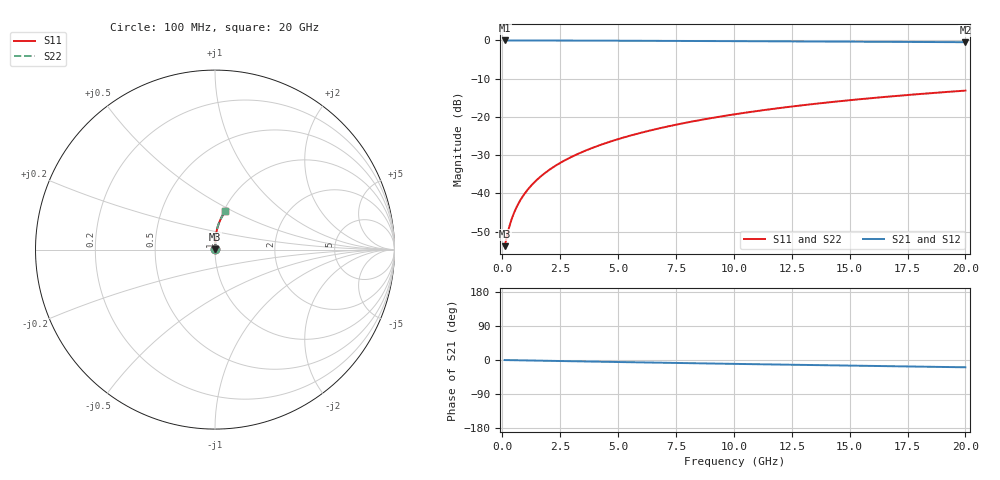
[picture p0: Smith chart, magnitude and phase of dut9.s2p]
! Touchstone file exported from HFSS 2024.1.0
!  File:  C:/UserFiles/LocalFiles/RDL_TSV_Batchsim/temp_RDL_bottom_9_1778691182.aedt
!  Generated:  12:55:55 AM May 14, 2026
!  Design:  RDL_bottom
!  Project:  temp_RDL_bottom_9_1778691182
!  Setup:  Setup1
!  Solution:  Sweep
! Variables:
!  dtsv = 10.80580581um
!  hbump = 3um
!  htsv = 98.51um
!  ldown = 216.98um
!  lrdl = 100um
!  p = 40
!  p1 = 54.42um
!  rhole = 1um
!  t = 450um
!  tdown = 2.45um
!  trdl = 3.915915916um
!  wdown = 22.36um
!  wrdl = 20um
# GHz S MA R 50.000000
! Terminal data exported
! Port[1] = RDL1_T1
! Port[2] = RDL1_T2
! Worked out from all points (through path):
!   200 points, 100 MHz to 20 GHz, reference 50 ohm
!   highest |S21| = -0.02 dB at 100 MHz (marker M1); lowest = -0.5 dB at 20 GHz (marker M2)
!   group delay of S21, straight-line fit = 2.65 ps
!   lowest |S11| = -53.8 dB at 100 MHz (marker M3), VSWR 1.00, Z = 50.2 + j0.107 ohm
!   |S11| at or under -10 dB: start of sweep to end of sweep
!   |S22| runs from -53.8 to -13.1 dB; largest |S21 - S12| = 3e-15
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0.1  0.00204 31.5  0.9983 -0.1  0.9983 -0.1  0.00204 31.5
! Gamma 0 0 0 0
! Port Impedance 50 0 50 0
0.2  0.002766 50.0  0.9982 -0.2  0.9982 -0.2  0.002766 50.0
0.3  0.003641 59.8  0.9981 -0.3  0.9981 -0.3  0.003641 59.8
0.4  0.004563 65.6  0.9981 -0.5  0.9981 -0.5  0.004563 65.6
0.5  0.0055 69.4  0.998 -0.6  0.998 -0.6  0.0055 69.4
0.6  0.006442 72.2  0.9979 -0.7  0.9979 -0.7  0.006442 72.2
0.8  0.008335 75.9  0.9977 -0.9  0.9977 -0.9  0.008335 75.9
1.1  0.0112 79.4  0.9975 -1.2  0.9975 -1.2  0.0112 79.4
1.3  0.01314 80.9  0.9973 -1.4  0.9973 -1.4  0.01314 80.9
1.6  0.01606 82.6  0.997 -1.8  0.997 -1.8  0.01606 82.6
2.1  0.021 84.4  0.9964 -2.3  0.9964 -2.3  0.021 84.4
2.7  0.02703 85.7  0.9956 -2.9  0.9956 -2.9  0.02703 85.7
3.5  0.03524 86.7  0.9942 -3.8  0.9942 -3.8  0.03524 86.7
4.2  0.04258 87.2  0.9928 -4.5  0.9928 -4.5  0.04258 87.2
5  0.05116 87.4  0.991 -5.3  0.991 -5.3  0.05116 87.4
5.9  0.06101 87.3  0.9888 -6.2  0.9888 -6.2  0.06101 87.3
6.8  0.07106 87.0  0.9865 -7.1  0.9865 -7.1  0.07106 87.0
8.4  0.08927 86.1  0.9821 -8.7  0.9821 -8.7  0.08927 86.1
10.1  0.1089 84.8  0.9773 -10.3  0.9773 -10.3  0.1089 84.8
13.4  0.147 81.7  0.9677 -13.4  0.9677 -13.4  0.147 81.7
16.7  0.1843 78.4  0.9578 -16.3  0.9578 -16.3  0.1843 78.4
20  0.2205 75.2  0.9475 -19.2  0.9475 -19.2  0.2205 75.2
